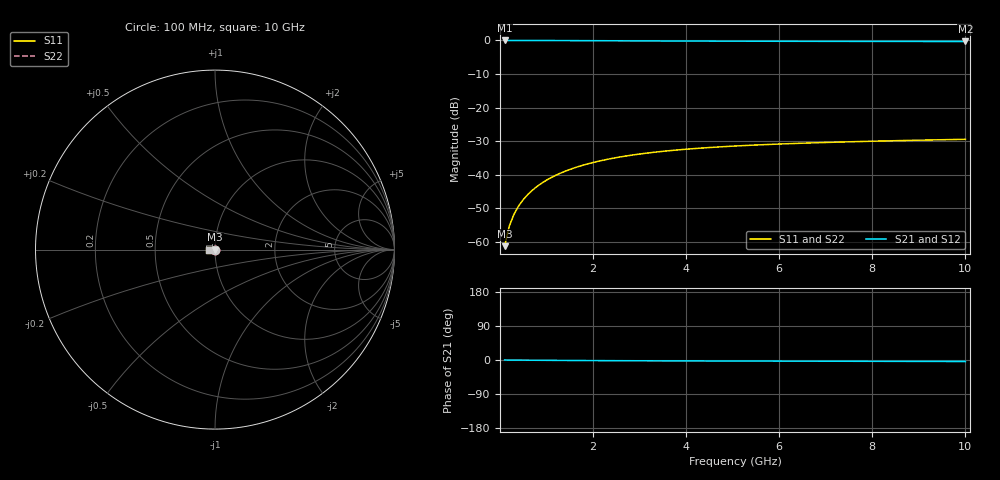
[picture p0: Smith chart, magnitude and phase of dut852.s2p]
! Touchstone file exported from HFSS 2024.1.0
!  File:  C:/UserFiles/LocalFiles/RDL_TSV_Batchsim/temp_TSV1_852_1779881122.aedt
!  Generated:  07:30:26 PM May 27, 2026
!  Design:  TSV1
!  Project:  temp_TSV1_852_1779881122
!  Setup:  Setup1
!  Solution:  Sweep
! Variables:
!  dtsv = 8.84um
!  hbump = 3um
!  htsv = 59.98um
!  lrdl = 252.1521522um
!  p = 40
!  p1 = 44.29um
!  t = 500um
!  trdl = 3um
!  wrdl = 24.89489489um
# GHz S MA R 50.000000
! Terminal data exported
! Port[1] = TSV22_T1
! Port[2] = TSV22_T2
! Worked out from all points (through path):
!   100 points, 100 MHz to 10 GHz, reference 50 ohm
!   highest |S21| = 0.00 dB at 100 MHz (marker M1); lowest = -0.3 dB at 10 GHz (marker M2)
!   lowest |S11| = -61.4 dB at 100 MHz (marker M3), VSWR 1.00, Z = 50 - j0.0845 ohm
!   |S11| at or under -10 dB: start of sweep to end of sweep
!   |S22| runs from -61.4 to -29.5 dB; largest |S21 - S12| = 4e-15
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0.1  0.0008552 -81.0  0.9998 -0.1  0.9998 -0.1  0.0008552 -81.0
! Gamma 0 0 0 0
! Port Impedance 50 0 50 0
0.2  0.001699 -87.8  0.9997 -0.2  0.9997 -0.2  0.001699 -87.8
0.3  0.002545 -91.3  0.9996 -0.3  0.9996 -0.3  0.002545 -91.3
0.4  0.003388 -94.0  0.9994 -0.4  0.9994 -0.4  0.003388 -94.0
0.5  0.004223 -96.3  0.9992 -0.4  0.9992 -0.4  0.004223 -96.3
0.6  0.00505 -98.3  0.9989 -0.5  0.9989 -0.5  0.00505 -98.3
0.7  0.005867 -100.3  0.9985 -0.6  0.9985 -0.6  0.005867 -100.3
0.8  0.006673 -102.2  0.9982 -0.7  0.9982 -0.7  0.006673 -102.2
0.9  0.007466 -104.0  0.9978 -0.8  0.9978 -0.8  0.007466 -104.0
1.1  0.00901 -107.5  0.9969 -0.9  0.9969 -0.9  0.00901 -107.5
1.4  0.01121 -112.4  0.9953 -1.2  0.9953 -1.2  0.01121 -112.4
1.6  0.01259 -115.5  0.9941 -1.3  0.9941 -1.3  0.01259 -115.5
1.8  0.01389 -118.6  0.9929 -1.4  0.9929 -1.4  0.01389 -118.6
2.1  0.01571 -122.8  0.991 -1.6  0.991 -1.6  0.01571 -122.9
2.5  0.01789 -128.2  0.9884 -1.8  0.9884 -1.8  0.01789 -128.2
2.9  0.01979 -133.1  0.9859 -2.0  0.9859 -2.0  0.01979 -133.1
3.4  0.02184 -138.6  0.983 -2.2  0.983 -2.2  0.02184 -138.6
4.2  0.02447 -146.4  0.979 -2.5  0.979 -2.5  0.02447 -146.4
5.1  0.02675 -153.8  0.9752 -2.7  0.9752 -2.7  0.02675 -153.8
6.7  0.02966 -164.5  0.9704 -3.1  0.9704 -3.1  0.02966 -164.5
8.4  0.03188 -173.6  0.967 -3.6  0.967 -3.6  0.03188 -173.6
10  0.03357 179.3  0.9647 -4.0  0.9647 -4.0  0.03357 179.3
